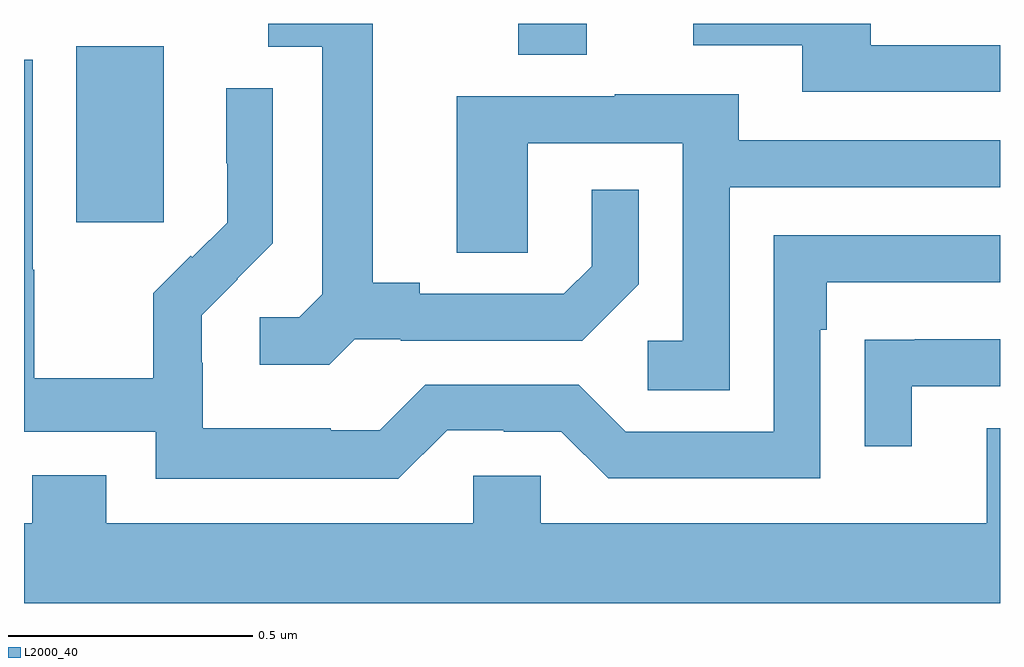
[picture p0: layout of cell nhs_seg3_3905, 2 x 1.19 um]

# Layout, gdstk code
import gdstk
lib = gdstk.Library(unit=1e-6, precision=1e-09)
def R(c, l, rs):  # rectangles x0, y0, x1, y1
    for r in rs: c.add(gdstk.rectangle(r[:2], r[2:], *l))
def P(c, l, *ps):  # polygons
    for p in ps: c.add(gdstk.Polygon(p, *l))
L2000_40 = (2000, 40)

nhs_seg3_3905 = lib.new_cell('nhs_seg3_3905')
R(nhs_seg3_3905, L2000_40, [(159.107,738.993,159.286,739.354), (160.013,739.336,160.153,739.4)])
P(nhs_seg3_3905, L2000_40, [(159.678,738.753),(159.772,738.753),(159.772,738.75),(160.144,738.75),(160.26,738.866),(160.26,739.06),(160.163,739.06),(160.163,738.903),(160.106,738.846),(159.811,738.846),(159.811,738.869),(159.715,738.869),(159.715,739.4),(159.501,739.4),(159.501,739.353),(159.611,739.353),(159.611,738.845),(159.564,738.798),(159.483,738.798),(159.483,738.701),(159.626,738.701)],
  [(161,739.356),(160.735,739.356),(160.735,739.4),(160.371,739.4),(160.371,739.356),(160.595,739.356),(160.595,739.26),(161,739.26)],
  [(159.867,738.567),(159.983,738.567),(159.983,738.564),(160.101,738.564),(160.197,738.468),(160.632,738.468),(160.632,738.773),(160.645,738.773),(160.645,738.87),(161,738.87),(161,738.966),(160.536,738.966),(160.536,738.564),(160.233,738.564),(160.137,738.66),(159.822,738.66),(159.729,738.567),(159.629,738.567),(159.629,738.571),(159.366,738.571),(159.366,738.705),(159.364,738.705),(159.364,738.802),(159.438,738.876),(159.437,738.877),(159.51,738.95),(159.51,739.268),(159.414,739.268),(159.414,739.114),(159.416,739.114),(159.416,738.992),(159.345,738.921),(159.342,738.924),(159.265,738.847),(159.265,738.673),(159.021,738.673),(159.021,738.896),(159.018,738.896),(159.018,739.326),(159,739.326),(159,738.564),(159.27,738.564),(159.27,738.467),(159.767,738.467)],
  [(160.446,739.065),(161,739.065),(161,739.161),(160.465,739.161),(160.465,739.255),(160.211,739.255),(160.211,739.251),(159.887,739.251),(159.887,738.931),(160.032,738.931),(160.032,739.155),(160.35,739.155),(160.35,738.75),(160.278,738.75),(160.278,738.649),(160.446,738.649)],
  [(160.819,738.657),(161,738.657),(161,738.753),(160.825,738.753),(160.825,738.752),(160.723,738.752),(160.723,738.534),(160.819,738.534)],
  [(161,738.571),(160.973,738.571),(160.973,738.376),(160.059,738.376),(160.059,738.474),(159.921,738.474),(159.921,738.376),(159.169,738.376),(159.169,738.475),(159.017,738.475),(159.017,738.376),(159,738.376),(159,738.212),(161,738.212)])

lib.write_gds('nhs_seg3_3905.gds')
